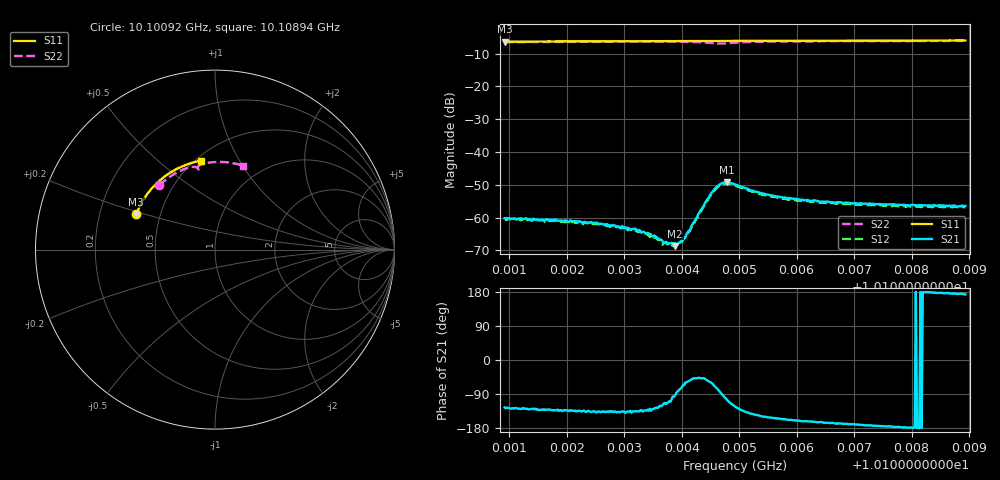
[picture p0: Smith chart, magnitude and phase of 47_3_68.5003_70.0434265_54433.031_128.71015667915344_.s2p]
#  HZ  S  RI  R  50.00
! Rohde & Schwarz Vector Network Analyzer
! Rohde-Schwarz,ZNB20-2Port,1311601062101988,3.16
! Created: UTC 3/20/2024, 5:05:50 PM
! freq[Hz]  re:S11  im:S11  re:S21  im:S21  re:S12  im:S12  re:S22  im:S22
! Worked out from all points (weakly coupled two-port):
!   401 points, 10.10092 GHz to 10.10894 GHz, reference 50 ohm
!   highest |S21| = -49.25 dB at 10.10479 GHz (marker M1); lowest = -68.7 dB at 10.10389 GHz (marker M2)
!   lowest |S11| = -6.3 dB at 10.10092 GHz (marker M3), VSWR 2.86, Z = 18.2 + j9.42 ohm
!   |S11| at or under -10 dB: nowhere
!   |S22| runs from -6.9 to -6.1 dB; largest |S21 - S12| = 0.00037
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1.010092e10  -0.4386 0.1987  -0.000561 -0.000798  -0.000517 -0.000781  -0.3097 0.3587
1.0101762e10  -0.4173 0.2454  -0.000621 -0.000686  -0.000548 -0.000701  -0.2681 0.3938
1.0102263e10  -0.4025 0.2719  -0.000609 -0.000585  -0.000546 -0.000636  -0.2414 0.4125
1.0102623e10  -0.3906 0.2904  -0.000569 -0.00056  -0.000522 -0.000588  -0.221 0.4247
1.0103185e10  -0.3708 0.3182  -0.000479 -0.000473  -0.000424 -0.000493  -0.1878 0.4419
1.0103425e10  -0.3616 0.3295  -0.0004 -0.000413  -0.000332 -0.000419  -0.1725 0.4482
1.0103606e10  -0.3546 0.3379  -0.000262 -0.000397  -0.000236 -0.000396  -0.1607 0.4527
1.0103706e10  -0.3505 0.3424  -0.000162 -0.00038  -0.000164 -0.000374  -0.1539 0.4549
1.0103886e10  -0.3432 0.3505  -2.21e-05 -0.000367  1.15e-05 -0.000407  -0.1409 0.4582
1.0103926e10  -0.3413 0.3523  4.36e-05 -0.000381  7.11e-05 -0.000386  -0.1382 0.4589
1.0103966e10  -0.3398 0.354  8.87e-05 -0.000397  0.000102 -0.000404  -0.1353 0.4595
1.0104046e10  -0.3365 0.3576  0.0002 -0.000458  0.000266 -0.000393  -0.1289 0.4605
1.0104107e10  -0.3339 0.3601  0.000327 -0.000501  0.000359 -0.000464  -0.124 0.4609
1.0104447e10  -0.319 0.3744  0.00112 -0.00153  0.00122 -0.00135  -0.0965 0.4537
1.0104568e10  -0.3138 0.3794  0.00101 -0.0025  0.00118 -0.00228  -0.0924 0.4452
1.0104668e10  -0.3092 0.3833  0.0003 -0.0032  0.000566 -0.00306  -0.0955 0.44
1.0104788e10  -0.3038 0.388  -0.0009 -0.00333  -0.000546 -0.00325  -0.1018 0.4429
1.0104928e10  -0.2974 0.3935  -0.00172 -0.0027  -0.00147 -0.00273  -0.1013 0.4535
1.0105449e10  -0.2723 0.413  -0.00197 -0.00113  -0.00178 -0.00128  -0.068 0.4769
1.0106271e10  -0.2307 0.4399  -0.0017 -0.000555  -0.0016 -0.000656  -0.0119 0.4871
1.0107614e10  -0.1571 0.4742  -0.00158 -0.000144  -0.00149 -0.000243  0.0757 0.4855
1.0108937e10  -0.0799 0.4954  -0.00149 0.000183  -0.00142 2.8e-05  0.1585 0.468
